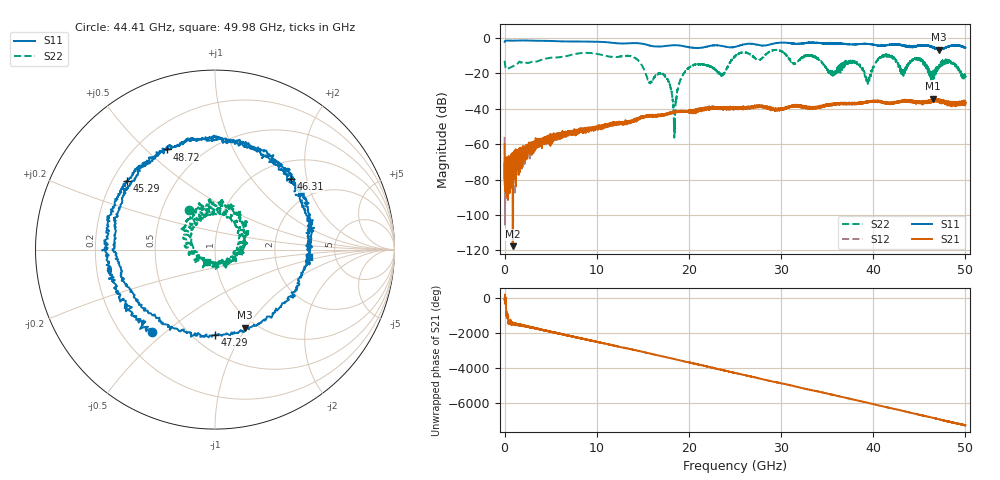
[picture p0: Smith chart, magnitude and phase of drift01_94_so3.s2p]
!Created with skrf (http://scikit-rf.org).
# Hz S RI R 50.0
!freq ReS11 ImS11 ReS21 ImS21 ReS12 ImS12 ReS22 ImS22
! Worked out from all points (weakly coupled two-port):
!   10001 points, 300 kHz to 50 GHz, reference 50 ohm
!   highest |S21| = -34.31 dB at 46.49 GHz (marker M1); lowest = -117.6 dB at 890.3 MHz (marker M2)
!   lowest |S11| = -6.6 dB at 47.15 GHz (marker M3), VSWR 2.75, Z = 44.3 - j49.4 ohm
!   |S11| at or under -10 dB: nowhere
!   |S22| runs from -56.3 to -6.7 dB; largest |S21 - S12| = 0.0038
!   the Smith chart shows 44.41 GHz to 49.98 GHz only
!   S11 on the Smith chart (normalised r, x): 44.41 GHz: 0.32, -0.45; 45.29 GHz: 0.26, +0.32; 46.31 GHz: 1.37, +1.62; 47.29 GHz: 0.63, -0.77; 48.72 GHz: 0.32, +0.58; 49.98 GHz: 3.18, -0.36
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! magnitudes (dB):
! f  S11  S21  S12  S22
! 300 kHz  -2.1  -59.8  -55.8  -12.8
! 260.3 MHz  -1.4  -73.8  -76.6  -17.5
! 890.3 MHz  -1.5  -117.6  -66.4  -16.0
! 8.335 GHz  -1.9  -52.0  -52.6  -8.5
! 16.67 GHz  -4.8  -43.8  -43.6  -20.0
! 17.74 GHz  -4.3  -42.8  -42.6  -23.9
! 18.43 GHz  -4.1  -42.0  -41.8  -52.6
! 19.9 GHz  -5.1  -41.6  -41.6  -17.2
! 23.6 GHz  -4.5  -40.1  -39.8  -20.6
! 25 GHz  -5.0  -39.6  -39.7  -10.4
! 33.34 GHz  -2.6  -39.3  -39.4  -9.8
! 39.46 GHz  -3.3  -36.4  -35.7  -23.3
! 41.67 GHz  -3.9  -36.8  -36.9  -9.5
! 44.41 GHz  -4.7  -36.0  -36.0  -11.7
! 45.29 GHz  -4.1  -36.2  -36.5  -13.0
! 46.31 GHz  -4.8  -35.6  -35.3  -21.8
! 46.49 GHz  -5.2  -34.3  -35.6  -20.9
! 47.15 GHz  -6.6  -34.9  -35.6  -15.4
! 47.29 GHz  -6.4  -35.3  -35.5  -15.9
! 48.72 GHz  -4.2  -37.2  -36.9  -14.3
! 49.98 GHz  -5.6  -36.6  -36.0  -21.9
! 50 GHz  -5.5  -36.3  -36.6  -22.3
